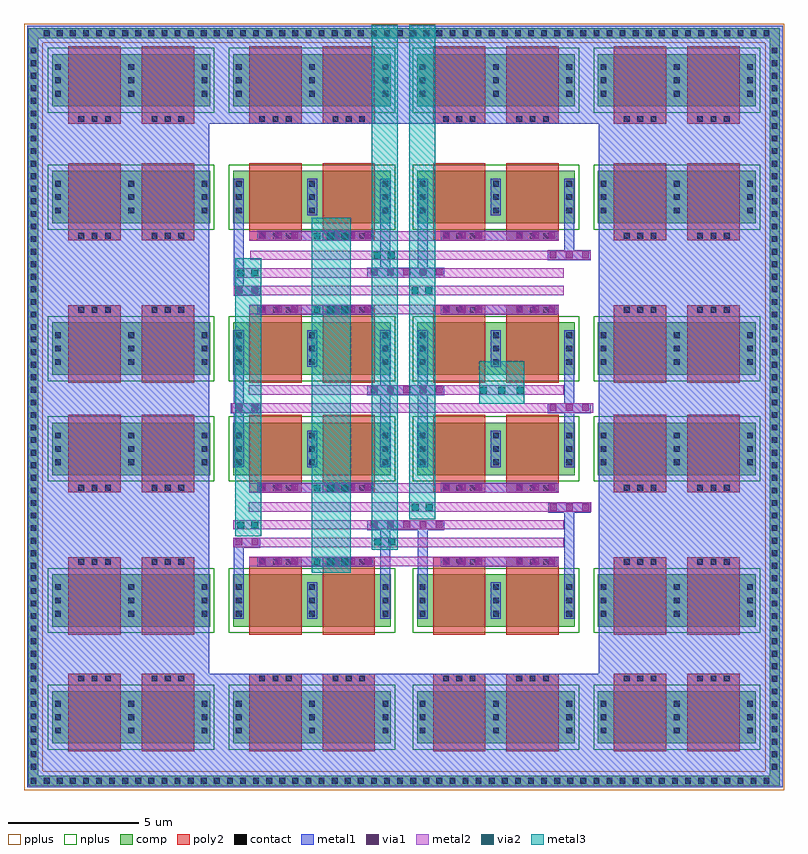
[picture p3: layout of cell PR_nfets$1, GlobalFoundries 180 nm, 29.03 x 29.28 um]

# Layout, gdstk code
import gdstk
lib = gdstk.Library(unit=1e-6, precision=1e-09)
def R(c, l, rs):  # rectangles x0, y0, x1, y1
    for r in rs: c.add(gdstk.rectangle(r[:2], r[2:], *l))
def A(c, l, x, y, w, h, nx, ny, dx, dy):  # array of equal rectangles
    R(c, l, [(x+i*dx, y+j*dy, x+i*dx+w, y+j*dy+h) for i in range(nx) for j in range(ny)])
def P(c, l, *ps):  # polygons
    for p in ps: c.add(gdstk.Polygon(p, *l))
comp = (22, 0)
poly2 = (30, 0)
pplus = (31, 0)
nplus = (32, 0)
contact = (33, 0)
metal1 = (34, 0)
via1 = (35, 0)
metal2 = (36, 0)
via2 = (38, 0)
metal3 = (42, 0)

nfet_1 = lib.new_cell('nfet$1')
R(nfet_1, comp, [(-0.42,0,0,2), (0,0,2.38,2), (2.38,0,2.8,2)])
R(nfet_1, poly2, [(0.19,-0.3,2.19,2.3), (0.19,2.3,2.19,2.66)])
R(nfet_1, nplus, [(-0.59,-0.24,2.97,2.24)])
A(nfet_1, contact, -0.32, 0.38, 0.22, 0.22, 1, 3, 0, 0.51)
A(nfet_1, contact, 2.48, 0.38, 0.22, 0.22, 1, 3, 0, 0.51)
A(nfet_1, contact, 0.57, 2.37, 0.22, 0.22, 3, 1, 0.51, 0)
R(nfet_1, metal1, [(-0.4,0.3,-0.02,1.7), (2.4,0.3,2.78,1.7), (0.49,2.29,1.89,2.67)])

pr_nfets_1 = lib.new_cell('PR_nfets$1')
R(pr_nfets_1, comp, [(-8.505,-6.035,20.185,-5.655), (-8.505,-5.655,-8.125,22.905), (19.805,-5.655,20.185,22.905), (-8.505,22.525,20.185,22.905)])
R(pr_nfets_1, pplus, [(-8.675,-6.205,20.355,-5.485), (-8.675,-5.83,-7.955,23.075), (19.635,-5.83,20.355,23.075), (-8.675,22.355,20.355,23.075)])
A(pr_nfets_1, contact, -8.42, -5.955, 0.22, 0.22, 57, 1, 0.5, 0)
A(pr_nfets_1, contact, -8.425, -5.42, 0.22, 0.22, 1, 58, 0, 0.48)
A(pr_nfets_1, contact, 19.885, -5.42, 0.22, 0.22, 1, 58, 0, 0.48)
A(pr_nfets_1, contact, -7.92, 22.605, 0.22, 0.22, 56, 1, 0.5, 0)
R(pr_nfets_1, contact, [(-8.425,21.94,-8.205,22.16)])
R(pr_nfets_1, metal1, [(-8.545,-6.09,-1.59,22.995), (-1.985,-6.09,20.315,-1.745), (13.27,-4.115,20.315,21.615), (-0.66,1.705,-0.28,3.445), (11.96,1.715,12.34,4.535), (4.94,1.725,5.32,3.945), (6.36,1.725,6.74,3.945), (0.23,2.335,1.87,2.715), (1.825,2.335,3.055,2.715), (3.03,2.335,4.67,2.715), (7.25,2.335,8.89,2.715), (8.845,2.335,10.075,2.715), (10.05,2.335,11.69,2.715), (-0.66,3.065,0.35,3.445), (-0.66,3.065,0.35,3.445), (4.43,3.735,7.385,4.115), (11.345,4.4,12.97,4.78), (0.23,5.165,1.87,5.545), (1.825,5.165,3.055,5.545), (3.03,5.165,4.67,5.545), (7.25,5.165,8.89,5.545), (8.845,5.165,10.075,5.545), (10.05,5.165,11.69,5.545), (11.96,6.225,12.34,9.035), (-0.66,6.995,-0.28,8.575), (4.94,7.17,5.32,9.225), (6.36,7.17,6.74,9.225), (-0.66,8.08,-0.28,10.89), (-0.785,8.195,0.35,8.575), (-0.705,8.195,0.35,8.575), (11.335,8.205,12.97,8.585), (11.96,8.23,12.34,11.04), (4.43,8.88,7.385,9.26), (4.94,8.905,5.32,10.96), (6.36,8.905,6.74,10.96), (0.23,11.955,1.87,12.335), (1.825,11.955,3.055,12.335), (3.03,11.955,4.67,12.335), (7.25,11.955,8.89,12.335), (8.845,11.955,10.075,12.335), (10.05,11.955,11.69,12.335), (-0.66,12.685,0.35,13.065), (-0.635,12.685,0.35,13.065), (-0.66,12.89,-0.28,15.91), (4.43,13.38,7.385,13.76), (4.94,13.58,5.32,15.8), (6.36,13.58,6.74,15.8), (11.335,14.035,12.97,14.415), (11.96,14.185,12.34,15.91), (0.23,14.785,1.87,15.165), (1.825,14.785,3.055,15.165), (3.03,14.785,4.67,15.165), (7.25,14.785,8.89,15.165), (8.845,14.785,10.075,15.165), (10.05,14.785,11.69,15.165), (-1.985,19.245,20.315,22.995)])
A(pr_nfets_1, via1, 11.415, 4.48, 0.26, 0.26, 3, 1, 0.62, 0)
A(pr_nfets_1, via1, 11.405, 14.115, 0.26, 0.26, 3, 1, 0.62, 0)
R(pr_nfets_1, via1, [(0.3,2.415,0.56,2.675), (0.3,2.415,0.56,2.675), (0.3,2.415,0.56,2.675), (0.3,2.415,0.56,2.675), (0.3,2.415,0.56,2.675), (0.3,2.415,0.56,2.675), (0.3,2.415,0.56,2.675), (0.3,2.415,0.56,2.675), (0.92,2.415,1.18,2.675), (0.92,2.415,1.18,2.675), (0.92,2.415,1.18,2.675), (0.92,2.415,1.18,2.675), (0.92,2.415,1.18,2.675), (0.92,2.415,1.18,2.675), (0.92,2.415,1.18,2.675), (0.92,2.415,1.18,2.675), (1.54,2.415,1.8,2.675), (1.54,2.415,1.8,2.675), (1.54,2.415,1.8,2.675), (1.54,2.415,1.8,2.675), (1.54,2.415,1.8,2.675), (1.54,2.415,1.8,2.675), (1.54,2.415,1.8,2.675), (1.54,2.415,1.8,2.675), (3.1,2.415,3.36,2.675), (3.1,2.415,3.36,2.675), (3.1,2.415,3.36,2.675), (3.1,2.415,3.36,2.675), (3.1,2.415,3.36,2.675), (3.1,2.415,3.36,2.675), (3.1,2.415,3.36,2.675), (3.1,2.415,3.36,2.675), (3.72,2.415,3.98,2.675), (3.72,2.415,3.98,2.675), (3.72,2.415,3.98,2.675), (3.72,2.415,3.98,2.675), (3.72,2.415,3.98,2.675), (3.72,2.415,3.98,2.675), (3.72,2.415,3.98,2.675), (3.72,2.415,3.98,2.675), (4.34,2.415,4.6,2.675), (4.34,2.415,4.6,2.675), (4.34,2.415,4.6,2.675), (4.34,2.415,4.6,2.675), (4.34,2.415,4.6,2.675), (4.34,2.415,4.6,2.675), (4.34,2.415,4.6,2.675), (4.34,2.415,4.6,2.675), (7.32,2.415,7.58,2.675), (7.32,2.415,7.58,2.675), (7.32,2.415,7.58,2.675), (7.32,2.415,7.58,2.675), (7.32,2.415,7.58,2.675), (7.32,2.415,7.58,2.675), (7.32,2.415,7.58,2.675), (7.32,2.415,7.58,2.675), (7.94,2.415,8.2,2.675), (7.94,2.415,8.2,2.675), (7.94,2.415,8.2,2.675), (7.94,2.415,8.2,2.675), (7.94,2.415,8.2,2.675), (7.94,2.415,8.2,2.675), (7.94,2.415,8.2,2.675), (7.94,2.415,8.2,2.675), (8.56,2.415,8.82,2.675), (8.56,2.415,8.82,2.675), (8.56,2.415,8.82,2.675), (8.56,2.415,8.82,2.675), (8.56,2.415,8.82,2.675), (8.56,2.415,8.82,2.675), (8.56,2.415,8.82,2.675), (8.56,2.415,8.82,2.675), (10.12,2.415,10.38,2.675), (10.12,2.415,10.38,2.675), (10.12,2.415,10.38,2.675), (10.12,2.415,10.38,2.675), (10.12,2.415,10.38,2.675), (10.12,2.415,10.38,2.675), (10.12,2.415,10.38,2.675), (10.12,2.415,10.38,2.675), (10.74,2.415,11,2.675), (10.74,2.415,11,2.675), (10.74,2.415,11,2.675), (10.74,2.415,11,2.675), (10.74,2.415,11,2.675), (10.74,2.415,11,2.675), (10.74,2.415,11,2.675), (10.74,2.415,11,2.675), (11.36,2.415,11.62,2.675), (11.36,2.415,11.62,2.675), (11.36,2.415,11.62,2.675), (11.36,2.415,11.62,2.675), (11.36,2.415,11.62,2.675), (11.36,2.415,11.62,2.675), (11.36,2.415,11.62,2.675), (11.36,2.415,11.62,2.675), (-0.6,3.145,-0.34,3.405), (0.02,3.145,0.28,3.405), (4.575,3.815,4.835,4.075), (4.575,3.815,4.835,4.075), (4.575,3.815,4.835,4.075), (4.575,3.815,4.835,4.075), (4.575,3.815,4.835,4.075), (4.575,3.815,4.835,4.075), (4.575,3.815,4.835,4.075), (4.575,3.815,4.835,4.075), (5.195,3.815,5.455,4.075), (5.195,3.815,5.455,4.075), (5.195,3.815,5.455,4.075), (5.195,3.815,5.455,4.075), (5.195,3.815,5.455,4.075), (5.195,3.815,5.455,4.075), (5.195,3.815,5.455,4.075), (5.195,3.815,5.455,4.075), (5.815,3.815,6.075,4.075), (5.815,3.815,6.075,4.075), (5.815,3.815,6.075,4.075), (5.815,3.815,6.075,4.075), (5.815,3.815,6.075,4.075), (5.815,3.815,6.075,4.075), (5.815,3.815,6.075,4.075), (5.815,3.815,6.075,4.075), (6.435,3.815,6.695,4.075), (6.435,3.815,6.695,4.075), (6.435,3.815,6.695,4.075), (6.435,3.815,6.695,4.075), (6.435,3.815,6.695,4.075), (6.435,3.815,6.695,4.075), (6.435,3.815,6.695,4.075), (6.435,3.815,6.695,4.075), (7.055,3.815,7.315,4.075), (7.055,3.815,7.315,4.075), (7.055,3.815,7.315,4.075), (7.055,3.815,7.315,4.075), (7.055,3.815,7.315,4.075), (7.055,3.815,7.315,4.075), (7.055,3.815,7.315,4.075), (7.055,3.815,7.315,4.075), (0.3,5.245,0.56,5.505), (0.3,5.245,0.56,5.505), (0.3,5.245,0.56,5.505), (0.3,5.245,0.56,5.505), (0.3,5.245,0.56,5.505), (0.3,5.245,0.56,5.505), (0.3,5.245,0.56,5.505), (0.3,5.245,0.56,5.505), (0.92,5.245,1.18,5.505), (0.92,5.245,1.18,5.505), (0.92,5.245,1.18,5.505), (0.92,5.245,1.18,5.505), (0.92,5.245,1.18,5.505), (0.92,5.245,1.18,5.505), (0.92,5.245,1.18,5.505), (0.92,5.245,1.18,5.505), (1.54,5.245,1.8,5.505), (1.54,5.245,1.8,5.505), (1.54,5.245,1.8,5.505), (1.54,5.245,1.8,5.505), (1.54,5.245,1.8,5.505), (1.54,5.245,1.8,5.505), (1.54,5.245,1.8,5.505), (1.54,5.245,1.8,5.505), (3.1,5.245,3.36,5.505), (3.1,5.245,3.36,5.505), (3.1,5.245,3.36,5.505), (3.1,5.245,3.36,5.505), (3.1,5.245,3.36,5.505), (3.1,5.245,3.36,5.505), (3.1,5.245,3.36,5.505), (3.1,5.245,3.36,5.505), (3.72,5.245,3.98,5.505), (3.72,5.245,3.98,5.505), (3.72,5.245,3.98,5.505), (3.72,5.245,3.98,5.505), (3.72,5.245,3.98,5.505), (3.72,5.245,3.98,5.505), (3.72,5.245,3.98,5.505), (3.72,5.245,3.98,5.505), (4.34,5.245,4.6,5.505), (4.34,5.245,4.6,5.505), (4.34,5.245,4.6,5.505), (4.34,5.245,4.6,5.505), (4.34,5.245,4.6,5.505), (4.34,5.245,4.6,5.505), (4.34,5.245,4.6,5.505), (4.34,5.245,4.6,5.505), (7.32,5.245,7.58,5.505), (7.32,5.245,7.58,5.505), (7.32,5.245,7.58,5.505), (7.32,5.245,7.58,5.505), (7.32,5.245,7.58,5.505), (7.32,5.245,7.58,5.505), (7.32,5.245,7.58,5.505), (7.32,5.245,7.58,5.505), (7.94,5.245,8.2,5.505), (7.94,5.245,8.2,5.505), (7.94,5.245,8.2,5.505), (7.94,5.245,8.2,5.505), (7.94,5.245,8.2,5.505), (7.94,5.245,8.2,5.505), (7.94,5.245,8.2,5.505), (7.94,5.245,8.2,5.505), (8.56,5.245,8.82,5.505), (8.56,5.245,8.82,5.505), (8.56,5.245,8.82,5.505), (8.56,5.245,8.82,5.505), (8.56,5.245,8.82,5.505), (8.56,5.245,8.82,5.505), (8.56,5.245,8.82,5.505), (8.56,5.245,8.82,5.505), (10.12,5.245,10.38,5.505), (10.12,5.245,10.38,5.505), (10.12,5.245,10.38,5.505), (10.12,5.245,10.38,5.505), (10.12,5.245,10.38,5.505), (10.12,5.245,10.38,5.505), (10.12,5.245,10.38,5.505), (10.12,5.245,10.38,5.505), (10.74,5.245,11,5.505), (10.74,5.245,11,5.505), (10.74,5.245,11,5.505), (10.74,5.245,11,5.505), (10.74,5.245,11,5.505), (10.74,5.245,11,5.505), (10.74,5.245,11,5.505), (10.74,5.245,11,5.505), (11.36,5.245,11.62,5.505), (11.36,5.245,11.62,5.505), (11.36,5.245,11.62,5.505), (11.36,5.245,11.62,5.505), (11.36,5.245,11.62,5.505), (11.36,5.245,11.62,5.505), (11.36,5.245,11.62,5.505), (11.36,5.245,11.62,5.505), (-0.6,8.275,-0.34,8.535), (0.02,8.275,0.28,8.535), (11.405,8.285,11.665,8.545), (11.405,8.285,11.665,8.545), (11.405,8.285,11.665,8.545), (11.405,8.285,11.665,8.545), (11.405,8.285,11.665,8.545), (11.405,8.285,11.665,8.545), (11.405,8.285,11.665,8.545), (11.405,8.285,11.665,8.545), (12.025,8.285,12.285,8.545), (12.025,8.285,12.285,8.545), (12.025,8.285,12.285,8.545), (12.025,8.285,12.285,8.545), (12.025,8.285,12.285,8.545), (12.025,8.285,12.285,8.545), (12.025,8.285,12.285,8.545), (12.025,8.285,12.285,8.545), (12.645,8.285,12.905,8.545), (12.645,8.285,12.905,8.545), (12.645,8.285,12.905,8.545), (12.645,8.285,12.905,8.545), (12.645,8.285,12.905,8.545), (12.645,8.285,12.905,8.545), (12.645,8.285,12.905,8.545), (12.645,8.285,12.905,8.545), (4.575,8.96,4.835,9.22), (4.575,8.96,4.835,9.22), (4.575,8.96,4.835,9.22), (4.575,8.96,4.835,9.22), (4.575,8.96,4.835,9.22), (4.575,8.96,4.835,9.22), (4.575,8.96,4.835,9.22), (4.575,8.96,4.835,9.22), (5.195,8.96,5.455,9.22), (5.195,8.96,5.455,9.22), (5.195,8.96,5.455,9.22), (5.195,8.96,5.455,9.22), (5.195,8.96,5.455,9.22), (5.195,8.96,5.455,9.22), (5.195,8.96,5.455,9.22), (5.195,8.96,5.455,9.22), (5.815,8.96,6.075,9.22), (5.815,8.96,6.075,9.22), (5.815,8.96,6.075,9.22), (5.815,8.96,6.075,9.22), (5.815,8.96,6.075,9.22), (5.815,8.96,6.075,9.22), (5.815,8.96,6.075,9.22), (5.815,8.96,6.075,9.22), (6.435,8.96,6.695,9.22), (6.435,8.96,6.695,9.22), (6.435,8.96,6.695,9.22), (6.435,8.96,6.695,9.22), (6.435,8.96,6.695,9.22), (6.435,8.96,6.695,9.22), (6.435,8.96,6.695,9.22), (6.435,8.96,6.695,9.22), (7.055,8.96,7.315,9.22), (7.055,8.96,7.315,9.22), (7.055,8.96,7.315,9.22), (7.055,8.96,7.315,9.22), (7.055,8.96,7.315,9.22), (7.055,8.96,7.315,9.22), (7.055,8.96,7.315,9.22), (7.055,8.96,7.315,9.22), (0.3,12.035,0.56,12.295), (0.3,12.035,0.56,12.295), (0.3,12.035,0.56,12.295), (0.3,12.035,0.56,12.295), (0.3,12.035,0.56,12.295), (0.3,12.035,0.56,12.295), (0.3,12.035,0.56,12.295), (0.3,12.035,0.56,12.295), (0.92,12.035,1.18,12.295), (0.92,12.035,1.18,12.295), (0.92,12.035,1.18,12.295), (0.92,12.035,1.18,12.295), (0.92,12.035,1.18,12.295), (0.92,12.035,1.18,12.295), (0.92,12.035,1.18,12.295), (0.92,12.035,1.18,12.295), (1.54,12.035,1.8,12.295), (1.54,12.035,1.8,12.295), (1.54,12.035,1.8,12.295), (1.54,12.035,1.8,12.295), (1.54,12.035,1.8,12.295), (1.54,12.035,1.8,12.295), (1.54,12.035,1.8,12.295), (1.54,12.035,1.8,12.295), (3.1,12.035,3.36,12.295), (3.1,12.035,3.36,12.295), (3.1,12.035,3.36,12.295), (3.1,12.035,3.36,12.295), (3.1,12.035,3.36,12.295), (3.1,12.035,3.36,12.295), (3.1,12.035,3.36,12.295), (3.1,12.035,3.36,12.295), (3.72,12.035,3.98,12.295), (3.72,12.035,3.98,12.295), (3.72,12.035,3.98,12.295), (3.72,12.035,3.98,12.295), (3.72,12.035,3.98,12.295), (3.72,12.035,3.98,12.295), (3.72,12.035,3.98,12.295), (3.72,12.035,3.98,12.295), (4.34,12.035,4.6,12.295), (4.34,12.035,4.6,12.295), (4.34,12.035,4.6,12.295), (4.34,12.035,4.6,12.295), (4.34,12.035,4.6,12.295), (4.34,12.035,4.6,12.295), (4.34,12.035,4.6,12.295), (4.34,12.035,4.6,12.295), (7.32,12.035,7.58,12.295), (7.32,12.035,7.58,12.295), (7.32,12.035,7.58,12.295), (7.32,12.035,7.58,12.295), (7.32,12.035,7.58,12.295), (7.32,12.035,7.58,12.295), (7.32,12.035,7.58,12.295), (7.32,12.035,7.58,12.295), (7.94,12.035,8.2,12.295), (7.94,12.035,8.2,12.295), (7.94,12.035,8.2,12.295), (7.94,12.035,8.2,12.295), (7.94,12.035,8.2,12.295), (7.94,12.035,8.2,12.295), (7.94,12.035,8.2,12.295), (7.94,12.035,8.2,12.295), (8.56,12.035,8.82,12.295), (8.56,12.035,8.82,12.295), (8.56,12.035,8.82,12.295), (8.56,12.035,8.82,12.295), (8.56,12.035,8.82,12.295), (8.56,12.035,8.82,12.295), (8.56,12.035,8.82,12.295), (8.56,12.035,8.82,12.295), (10.12,12.035,10.38,12.295), (10.12,12.035,10.38,12.295), (10.12,12.035,10.38,12.295), (10.12,12.035,10.38,12.295), (10.12,12.035,10.38,12.295), (10.12,12.035,10.38,12.295), (10.12,12.035,10.38,12.295), (10.12,12.035,10.38,12.295), (10.74,12.035,11,12.295), (10.74,12.035,11,12.295), (10.74,12.035,11,12.295), (10.74,12.035,11,12.295), (10.74,12.035,11,12.295), (10.74,12.035,11,12.295), (10.74,12.035,11,12.295), (10.74,12.035,11,12.295), (11.36,12.035,11.62,12.295), (11.36,12.035,11.62,12.295), (11.36,12.035,11.62,12.295), (11.36,12.035,11.62,12.295), (11.36,12.035,11.62,12.295), (11.36,12.035,11.62,12.295), (11.36,12.035,11.62,12.295), (11.36,12.035,11.62,12.295), (-0.6,12.765,-0.34,13.025), (0.02,12.765,0.28,13.025), (4.575,13.46,4.835,13.72), (4.575,13.46,4.835,13.72), (4.575,13.46,4.835,13.72), (4.575,13.46,4.835,13.72), (4.575,13.46,4.835,13.72), (4.575,13.46,4.835,13.72), (4.575,13.46,4.835,13.72), (4.575,13.46,4.835,13.72), (5.195,13.46,5.455,13.72), (5.195,13.46,5.455,13.72), (5.195,13.46,5.455,13.72), (5.195,13.46,5.455,13.72), (5.195,13.46,5.455,13.72), (5.195,13.46,5.455,13.72), (5.195,13.46,5.455,13.72), (5.195,13.46,5.455,13.72), (5.815,13.46,6.075,13.72), (5.815,13.46,6.075,13.72), (5.815,13.46,6.075,13.72), (5.815,13.46,6.075,13.72), (5.815,13.46,6.075,13.72), (5.815,13.46,6.075,13.72), (5.815,13.46,6.075,13.72), (5.815,13.46,6.075,13.72), (6.435,13.46,6.695,13.72), (6.435,13.46,6.695,13.72), (6.435,13.46,6.695,13.72), (6.435,13.46,6.695,13.72), (6.435,13.46,6.695,13.72), (6.435,13.46,6.695,13.72), (6.435,13.46,6.695,13.72), (6.435,13.46,6.695,13.72), (7.055,13.46,7.315,13.72), (7.055,13.46,7.315,13.72), (7.055,13.46,7.315,13.72), (7.055,13.46,7.315,13.72), (7.055,13.46,7.315,13.72), (7.055,13.46,7.315,13.72), (7.055,13.46,7.315,13.72), (7.055,13.46,7.315,13.72), (0.3,14.865,0.56,15.125), (0.3,14.865,0.56,15.125), (0.3,14.865,0.56,15.125), (0.3,14.865,0.56,15.125), (0.3,14.865,0.56,15.125), (0.3,14.865,0.56,15.125), (0.3,14.865,0.56,15.125), (0.3,14.865,0.56,15.125), (0.92,14.865,1.18,15.125), (0.92,14.865,1.18,15.125), (0.92,14.865,1.18,15.125), (0.92,14.865,1.18,15.125), (0.92,14.865,1.18,15.125), (0.92,14.865,1.18,15.125), (0.92,14.865,1.18,15.125), (0.92,14.865,1.18,15.125), (1.54,14.865,1.8,15.125), (1.54,14.865,1.8,15.125), (1.54,14.865,1.8,15.125), (1.54,14.865,1.8,15.125), (1.54,14.865,1.8,15.125), (1.54,14.865,1.8,15.125), (1.54,14.865,1.8,15.125), (1.54,14.865,1.8,15.125), (3.1,14.865,3.36,15.125), (3.1,14.865,3.36,15.125), (3.1,14.865,3.36,15.125), (3.1,14.865,3.36,15.125), (3.1,14.865,3.36,15.125), (3.1,14.865,3.36,15.125), (3.1,14.865,3.36,15.125), (3.1,14.865,3.36,15.125), (3.72,14.865,3.98,15.125), (3.72,14.865,3.98,15.125), (3.72,14.865,3.98,15.125), (3.72,14.865,3.98,15.125), (3.72,14.865,3.98,15.125), (3.72,14.865,3.98,15.125), (3.72,14.865,3.98,15.125), (3.72,14.865,3.98,15.125), (4.34,14.865,4.6,15.125), (4.34,14.865,4.6,15.125), (4.34,14.865,4.6,15.125), (4.34,14.865,4.6,15.125), (4.34,14.865,4.6,15.125), (4.34,14.865,4.6,15.125), (4.34,14.865,4.6,15.125), (4.34,14.865,4.6,15.125), (7.32,14.865,7.58,15.125), (7.32,14.865,7.58,15.125), (7.32,14.865,7.58,15.125), (7.32,14.865,7.58,15.125), (7.32,14.865,7.58,15.125), (7.32,14.865,7.58,15.125), (7.32,14.865,7.58,15.125), (7.32,14.865,7.58,15.125), (7.94,14.865,8.2,15.125), (7.94,14.865,8.2,15.125), (7.94,14.865,8.2,15.125), (7.94,14.865,8.2,15.125), (7.94,14.865,8.2,15.125), (7.94,14.865,8.2,15.125), (7.94,14.865,8.2,15.125), (7.94,14.865,8.2,15.125), (8.56,14.865,8.82,15.125), (8.56,14.865,8.82,15.125), (8.56,14.865,8.82,15.125), (8.56,14.865,8.82,15.125), (8.56,14.865,8.82,15.125), (8.56,14.865,8.82,15.125), (8.56,14.865,8.82,15.125), (8.56,14.865,8.82,15.125), (10.12,14.865,10.38,15.125), (10.12,14.865,10.38,15.125), (10.12,14.865,10.38,15.125), (10.12,14.865,10.38,15.125), (10.12,14.865,10.38,15.125), (10.12,14.865,10.38,15.125), (10.12,14.865,10.38,15.125), (10.12,14.865,10.38,15.125), (10.74,14.865,11,15.125), (10.74,14.865,11,15.125), (10.74,14.865,11,15.125), (10.74,14.865,11,15.125), (10.74,14.865,11,15.125), (10.74,14.865,11,15.125), (10.74,14.865,11,15.125), (10.74,14.865,11,15.125), (11.36,14.865,11.62,15.125), (11.36,14.865,11.62,15.125), (11.36,14.865,11.62,15.125), (11.36,14.865,11.62,15.125), (11.36,14.865,11.62,15.125), (11.36,14.865,11.62,15.125), (11.36,14.865,11.62,15.125), (11.36,14.865,11.62,15.125)])
R(pr_nfets_1, metal2, [(-0.07,2.36,11.75,2.715), (-0.685,3.085,11.945,3.44), (-0.675,3.76,11.945,4.115), (-0.09,4.435,12.985,4.79), (-0.07,5.165,11.75,5.52), (-0.745,8.215,13.06,8.57), (-0.09,8.91,11.945,9.265), (-0.07,11.98,11.75,12.335), (-0.665,12.705,11.945,13.06), (-0.615,13.38,11.945,13.735), (-0.04,14.055,12.975,14.41), (-0.07,14.785,11.75,15.14)])
A(pr_nfets_1, via2, 8.735, 8.95, 0.26, 0.26, 3, 1, 0.71, 0)
R(pr_nfets_1, via2, [(2.385,2.395,2.645,2.655), (2.385,2.395,2.645,2.655), (2.915,2.395,3.175,2.655), (2.915,2.395,3.175,2.655), (3.445,2.395,3.705,2.655), (3.445,2.395,3.705,2.655), (4.71,3.15,4.97,3.41), (5.24,3.15,5.5,3.41), (-0.525,3.8,-0.265,4.06), (0.005,3.8,0.265,4.06), (6.14,4.47,6.4,4.73), (6.67,4.47,6.93,4.73), (2.385,5.21,2.645,5.47), (2.385,5.21,2.645,5.47), (2.915,5.21,3.175,5.47), (2.915,5.21,3.175,5.47), (3.445,5.21,3.705,5.47), (3.445,5.21,3.705,5.47), (2.385,12.025,2.645,12.285), (2.385,12.025,2.645,12.285), (2.915,12.025,3.175,12.285), (2.915,12.025,3.175,12.285), (3.445,12.025,3.705,12.285), (3.445,12.025,3.705,12.285), (6.13,12.755,6.39,13.015), (6.66,12.755,6.92,13.015), (-0.525,13.42,-0.265,13.68), (0.005,13.42,0.265,13.68), (4.69,14.105,4.95,14.365), (5.22,14.105,5.48,14.365), (2.385,14.835,2.645,15.095), (2.385,14.835,2.645,15.095), (2.915,14.835,3.175,15.095), (2.915,14.835,3.175,15.095), (3.445,14.835,3.705,15.095), (3.445,14.835,3.705,15.095)])
R(pr_nfets_1, metal3, [(2.32,2.1,3.8,15.655), (-0.615,3.49,0.39,14.12), (6.04,4.15,7.04,23.03), (8.715,8.55,10.43,10.19)])
P(pr_nfets_1, metal3, [(4.6,2.99),(4.6,23.03),(5.6,23.03),(5.6,3.26),(5.6,2.99)])
pr_nfets_1.add(gdstk.Reference(nfet_1, (16.47,17.455), x_reflection=True))
pr_nfets_1.add(gdstk.Reference(nfet_1, (13.67,17.455), x_reflection=True))
pr_nfets_1.add(gdstk.Reference(nfet_1, (13.67,9.665)))
pr_nfets_1.add(gdstk.Reference(nfet_1, (16.47,9.665)))
pr_nfets_1.add(gdstk.Reference(nfet_1, (16.47,7.835), x_reflection=True))
pr_nfets_1.add(gdstk.Reference(nfet_1, (13.67,7.835), x_reflection=True))
pr_nfets_1.add(gdstk.Reference(nfet_1, (16.47,0.045)))
pr_nfets_1.add(gdstk.Reference(nfet_1, (13.67,0.045)))
pr_nfets_1.add(gdstk.Reference(nfet_1, (-4.37,17.455), x_reflection=True))
pr_nfets_1.add(gdstk.Reference(nfet_1, (-7.17,17.455), x_reflection=True))
pr_nfets_1.add(gdstk.Reference(nfet_1, (-7.17,9.665)))
pr_nfets_1.add(gdstk.Reference(nfet_1, (-4.37,9.665)))
pr_nfets_1.add(gdstk.Reference(nfet_1, (-4.37,7.835), x_reflection=True))
pr_nfets_1.add(gdstk.Reference(nfet_1, (-7.17,7.835), x_reflection=True))
pr_nfets_1.add(gdstk.Reference(nfet_1, (9.56,17.455), x_reflection=True))
pr_nfets_1.add(gdstk.Reference(nfet_1, (6.76,17.455), x_reflection=True))
pr_nfets_1.add(gdstk.Reference(nfet_1, (2.54,17.455), x_reflection=True))
pr_nfets_1.add(gdstk.Reference(nfet_1, (-0.26,17.455), x_reflection=True))
pr_nfets_1.add(gdstk.Reference(nfet_1, (6.76,-4.415)))
pr_nfets_1.add(gdstk.Reference(nfet_1, (9.56,-4.415)))
pr_nfets_1.add(gdstk.Reference(nfet_1, (-0.26,-4.415)))
pr_nfets_1.add(gdstk.Reference(nfet_1, (2.54,-4.415)))
pr_nfets_1.add(gdstk.Reference(nfet_1, (13.67,-4.415)))
pr_nfets_1.add(gdstk.Reference(nfet_1, (16.47,-4.415)))
pr_nfets_1.add(gdstk.Reference(nfet_1, (-7.17,-4.415)))
pr_nfets_1.add(gdstk.Reference(nfet_1, (-4.37,-4.415)))
pr_nfets_1.add(gdstk.Reference(nfet_1, (16.47,21.915), x_reflection=True))
pr_nfets_1.add(gdstk.Reference(nfet_1, (13.67,21.915), x_reflection=True))
pr_nfets_1.add(gdstk.Reference(nfet_1, (-4.37,21.915), x_reflection=True))
pr_nfets_1.add(gdstk.Reference(nfet_1, (-7.17,21.915), x_reflection=True))
pr_nfets_1.add(gdstk.Reference(nfet_1, (9.56,21.915), x_reflection=True))
pr_nfets_1.add(gdstk.Reference(nfet_1, (6.76,21.915), x_reflection=True))
pr_nfets_1.add(gdstk.Reference(nfet_1, (2.54,21.915), x_reflection=True))
pr_nfets_1.add(gdstk.Reference(nfet_1, (-0.26,21.915), x_reflection=True))
pr_nfets_1.add(gdstk.Reference(nfet_1, (-4.37,0.045)))
pr_nfets_1.add(gdstk.Reference(nfet_1, (-7.17,0.045)))
pr_nfets_1.add(gdstk.Reference(nfet_1, (-0.26,9.665)))
pr_nfets_1.add(gdstk.Reference(nfet_1, (2.54,9.665)))
pr_nfets_1.add(gdstk.Reference(nfet_1, (6.76,9.665)))
pr_nfets_1.add(gdstk.Reference(nfet_1, (9.56,9.665)))
pr_nfets_1.add(gdstk.Reference(nfet_1, (9.56,7.835), x_reflection=True))
pr_nfets_1.add(gdstk.Reference(nfet_1, (6.76,7.835), x_reflection=True))
pr_nfets_1.add(gdstk.Reference(nfet_1, (2.54,7.835), x_reflection=True))
pr_nfets_1.add(gdstk.Reference(nfet_1, (-0.26,7.835), x_reflection=True))
pr_nfets_1.add(gdstk.Reference(nfet_1, (9.56,0.045)))
pr_nfets_1.add(gdstk.Reference(nfet_1, (6.76,0.045)))
pr_nfets_1.add(gdstk.Reference(nfet_1, (2.54,0.045)))
pr_nfets_1.add(gdstk.Reference(nfet_1, (-0.26,0.045)))

lib.write_gds('PR_nfets_1.gds')
